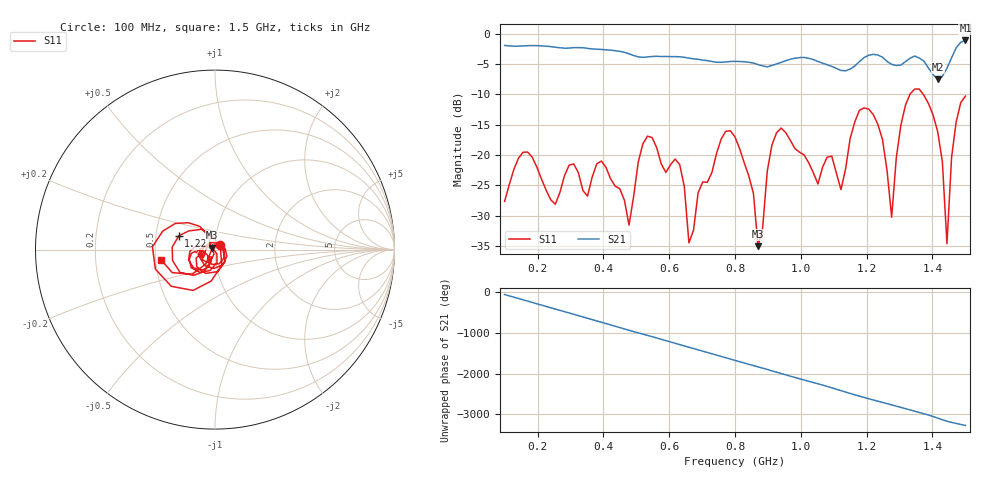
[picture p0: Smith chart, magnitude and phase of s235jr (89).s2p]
! NanoVNA-App
! Date: 2025-09-26 09:45:29
! Start: 100MHz Stop: 1,5GHz Points: 101
! S-Parameter data: F S11 S21 S12 S22
# Hz S RI R 50
!  Frequency  S11_Real  S11_Imag  S21_Real  S21_Imag  S12_Real  S12_Imag  S22_Real  S22_Imag
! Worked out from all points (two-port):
!   101 points, 100 MHz to 1.5 GHz, reference 50 ohm
!   highest |S21| = -1.13 dB at 1.5 GHz (marker M1); lowest = -7.6 dB at 1.416 GHz (marker M2)
!   |S21| within 3 dB of the highest: start of sweep to 670.5 MHz; 1.188 GHz to 1.253 GHz (64.46 MHz wide, 5.28 % of centre)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
!   lowest |S11| = -35.0 dB at 870 MHz (marker M3), VSWR 1.04, Z = 48.5 + j0.962 ohm
!   |S11| at or under -10 dB: start of sweep to 1.332 GHz; 1.371 GHz to end of sweep
!   S12 and S22 are empty: the file has one direction only
!   S11 on the Smith chart (normalised r, x): 100 MHz: 1.06, +0.06; 1.22 GHz: 0.66, +0.11; 1.5 GHz: 0.54, -0.07
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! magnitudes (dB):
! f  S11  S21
! 100 MHz  -27.6  -2.0
! 156 MHz  -19.5  -2.0
! 338 MHz  -25.9  -2.3
! 394 MHz  -21.0  -2.6
! 478 MHz  -31.6  -3.3
! 520 MHz  -18.2  -3.9
! 576 MHz  -21.5  -3.8
! 632 MHz  -21.6  -3.8
! 660 MHz  -34.5  -4.0
! 800 MHz  -17.0  -4.6
! 870 MHz  -35.0  -5.1
! 926 MHz  -16.4  -5.0
! 1.038 GHz  -22.9  -4.3
! 1.122 GHz  -25.7  -6.1
! 1.178 GHz  -12.7  -4.6
! 1.22 GHz  -13.3  -3.4
! 1.276 GHz  -30.2  -5.1
! 1.332 GHz  -10.0  -4.0
! 1.416 GHz  -16.2  -7.6
! 1.444 GHz  -34.6  -5.7
! 1.458 GHz  -20.4  -4.0
! 1.5 GHz  -10.3  -1.1
